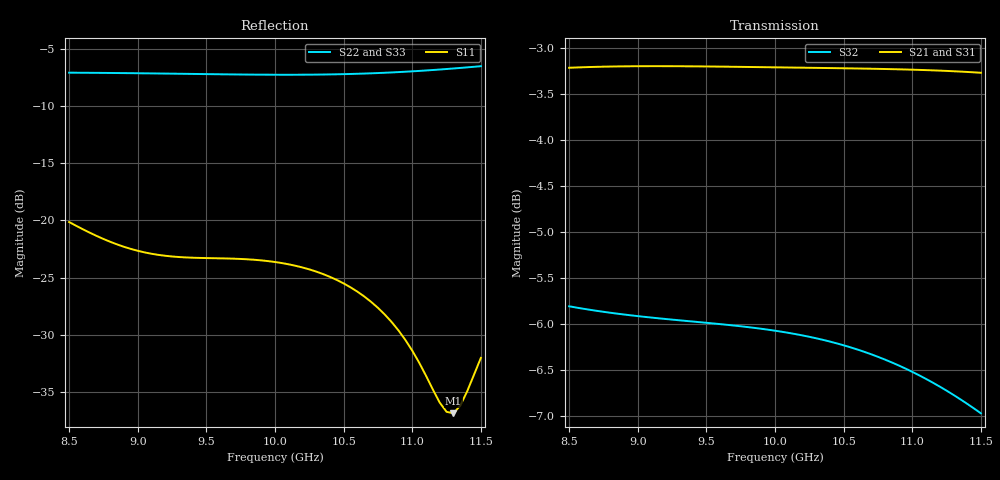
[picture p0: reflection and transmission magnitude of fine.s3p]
! yapnr rf: divider-x10, footprint re-simulated (refine 2)
! spec sha256 ebfea4ffd0e4fa7859ad9e810227fbb437c0960cb2a10d4053162c36b793aa05
! 3 ports renormalized to 50 ohm, e^(+jwt) convention
# GHz S RI R 50
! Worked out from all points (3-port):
!   61 points, 8.5 GHz to 11.5 GHz, reference 50 ohm
!   strongest paths, dB at 8.5 GHz, 9.25 GHz, 10 GHz, 10.75 GHz, 11.5 GHz:
!     S21: -3.2, -3.2, -3.2, -3.2, -3.3
!     S31: -3.2, -3.2, -3.2, -3.2, -3.3
!     S32: -5.8, -6.0, -6.1, -6.4, -7.0
!   lowest |S11| = -36.9 dB at 11.3 GHz (marker M1), VSWR 1.03, Z = 51.3 + j0.615 ohm
!   |S11| at or under -10 dB: start of sweep to end of sweep
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8.5  -0.0147 0.0973  -0.5849 0.3748  -0.5849 0.3748
     -0.5816 0.3722  -0.3922 0.2084  0.4807 -0.1775
     -0.5816 0.3722  0.4807 -0.1775  -0.3922 0.2084
8.9  -0.0265 0.0719  -0.5027 0.4817  -0.5027 0.4817
     -0.4994 0.4786  -0.3273 0.2974  0.3966 -0.3162
     -0.4994 0.4786  0.3966 -0.3162  -0.3273 0.2974
9.3  -0.0379 0.0578  -0.4007 0.5699  -0.4007 0.5699
     -0.3975 0.5663  -0.2324 0.3729  0.2727 -0.4233
     -0.3975 0.5663  0.2727 -0.4233  -0.2324 0.3729
10  -0.0422 0.0505  -0.1877 0.6708  -0.1877 0.6708
    -0.1848 0.6657  0.000567 0.435  -0.00741 -0.497
    -0.1848 0.6657  -0.00741 -0.497  0.000567 0.435
10.4  -0.0317 0.0469  -0.0535 0.6945  -0.0535 0.6945
      -0.0512 0.6884  0.1542 0.4083  -0.1732 -0.4587
      -0.0512 0.6884  -0.1732 -0.4587  0.1542 0.4083
10.7  -0.0185 0.0399  0.0498 0.6948  0.0498 0.6948
      0.0514 0.6878  0.2648 0.3529  -0.2825 -0.3913
      0.0514 0.6878  -0.2825 -0.3913  0.2648 0.3529
10.9  -0.00814 0.0319  0.1189 0.6863  0.1189 0.6863
      0.1198 0.6787  0.3312 0.2999  -0.3424 -0.3306
      0.1198 0.6787  -0.3424 -0.3306  0.3312 0.2999
11.2  0.00795 0.0138  0.2211 0.66  0.2211 0.66
      0.2207 0.6517  0.4128 0.1995  -0.4068 -0.2221
      0.2207 0.6517  -0.4068 -0.2221  0.4128 0.1995
11.3  0.013 0.00599  0.2543 0.6476  0.2543 0.6476
      0.2534 0.6391  0.4342 0.1616  -0.4207 -0.1829
      0.2534 0.6391  -0.4207 -0.1829  0.4342 0.1616
11.5  0.0218 -0.0123  0.3191 0.6173  0.3191 0.6173
      0.3171 0.6086  0.4672 0.0812  -0.4363 -0.1026
      0.3171 0.6086  -0.4363 -0.1026  0.4672 0.0812
